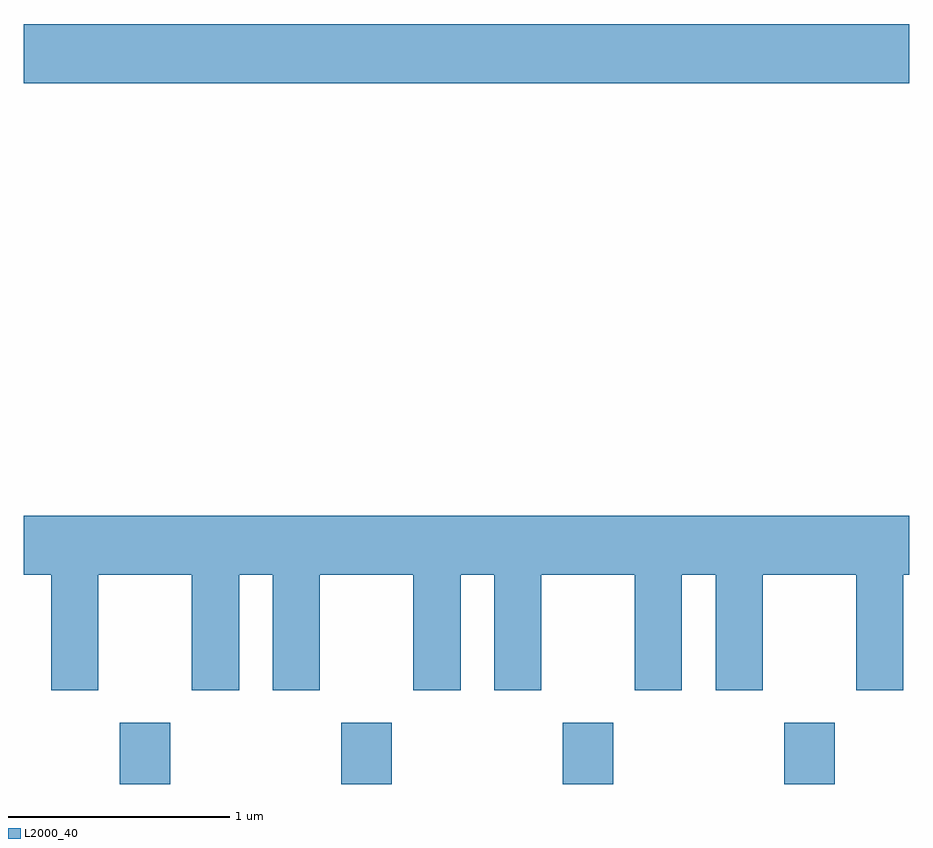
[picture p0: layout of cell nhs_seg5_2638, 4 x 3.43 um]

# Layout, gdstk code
import gdstk
lib = gdstk.Library(unit=1e-6, precision=1e-09)
def R(c, l, rs):  # rectangles x0, y0, x1, y1
    for r in rs: c.add(gdstk.rectangle(r[:2], r[2:], *l))
def A(c, l, x, y, w, h, nx, ny, dx, dy):  # array of equal rectangles
    R(c, l, [(x+i*dx, y+j*dy, x+i*dx+w, y+j*dy+h) for i in range(nx) for j in range(ny)])
def P(c, l, *ps):  # polygons
    for p in ps: c.add(gdstk.Polygon(p, *l))
L2000_40 = (2000, 40)

nhs_seg5_2638 = lib.new_cell('nhs_seg5_2638')
A(nhs_seg5_2638, L2000_40, 264.046, 1458.072, 0.228, 0.277, 4, 1, 1, 0)
R(nhs_seg5_2638, L2000_40, [(263.611,1461.236,267.611,1461.504)])
P(nhs_seg5_2638, L2000_40, [(263.949,1459.016),(264.371,1459.016),(264.371,1458.496),(264.584,1458.496),(264.584,1459.016),(264.736,1459.016),(264.736,1458.496),(264.949,1458.496),(264.949,1459.016),(265.371,1459.016),(265.371,1458.496),(265.584,1458.496),(265.584,1459.016),(265.736,1459.016),(265.736,1458.496),(265.949,1458.496),(265.949,1459.016),(266.371,1459.016),(266.371,1458.496),(266.584,1458.496),(266.584,1459.016),(266.736,1459.016),(266.736,1458.496),(266.949,1458.496),(266.949,1459.016),(267.371,1459.016),(267.371,1458.496),(267.584,1458.496),(267.584,1459.016),(267.611,1459.016),(267.611,1459.284),(263.611,1459.284),(263.611,1459.016),(263.736,1459.016),(263.736,1458.496),(263.949,1458.496)])

lib.write_gds('nhs_seg5_2638.gds')
